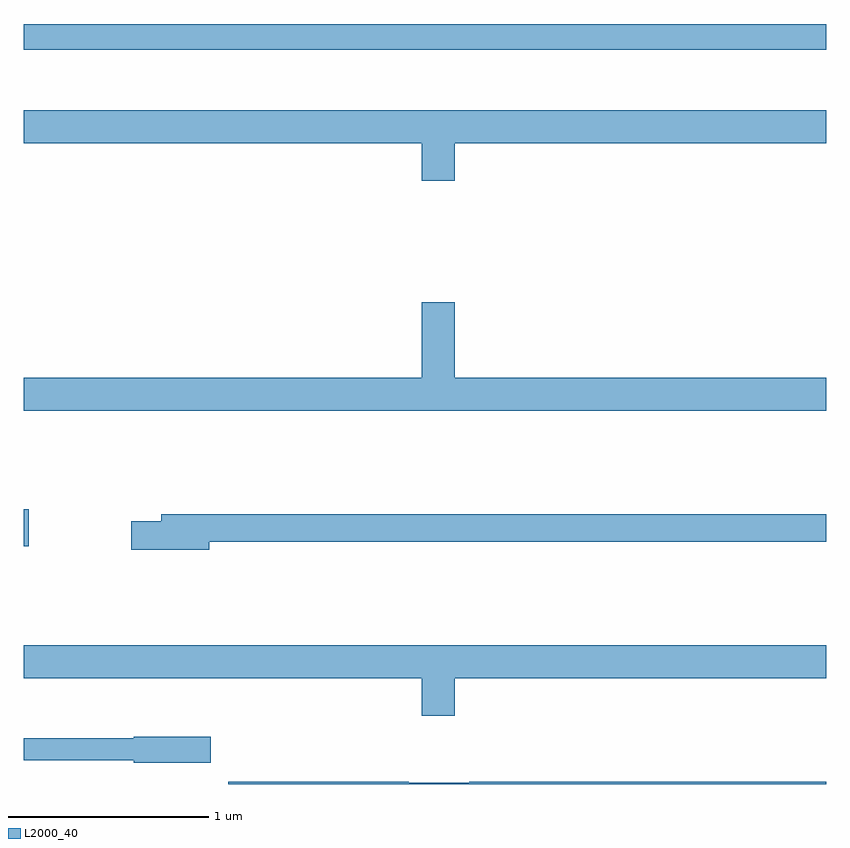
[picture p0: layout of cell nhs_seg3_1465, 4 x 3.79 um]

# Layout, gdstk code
import gdstk
lib = gdstk.Library(unit=1e-6, precision=1e-09)
def R(c, l, rs):  # rectangles x0, y0, x1, y1
    for r in rs: c.add(gdstk.rectangle(r[:2], r[2:], *l))
def P(c, l, *ps):  # polygons
    for p in ps: c.add(gdstk.Polygon(p, *l))
L2000_40 = (2000, 40)

nhs_seg3_1465 = lib.new_cell('nhs_seg3_1465')
R(nhs_seg3_1465, L2000_40, [(187,689.585,187.027,689.768), (187,692.058,191,692.186)])
P(nhs_seg3_1465, L2000_40, [(189.148,691.592),(191,691.592),(191,691.756),(187,691.756),(187,691.592),(188.984,691.592),(188.984,691.404),(189.148,691.404)],
  [(191,690.424),(189.148,690.424),(189.148,690.799),(188.984,690.799),(188.984,690.424),(187,690.424),(187,690.26),(191,690.26)],
  [(187.924,689.608),(191,689.608),(191,689.744),(187.685,689.744),(187.685,689.708),(187.536,689.708),(187.536,689.566),(187.924,689.566)],
  [(189.148,688.928),(191,688.928),(191,689.092),(187,689.092),(187,688.928),(188.984,688.928),(188.984,688.74),(189.148,688.74)],
  [(187.933,688.635),(187.548,688.635),(187.548,688.627),(187,688.627),(187,688.518),(187.548,688.518),(187.548,688.505),(187.933,688.505)],
  [(191,688.412),(189.22,688.412),(189.22,688.405),(188.92,688.405),(188.92,688.412),(188.02,688.412),(188.02,688.4),(191,688.4)])

lib.write_gds('nhs_seg3_1465.gds')
